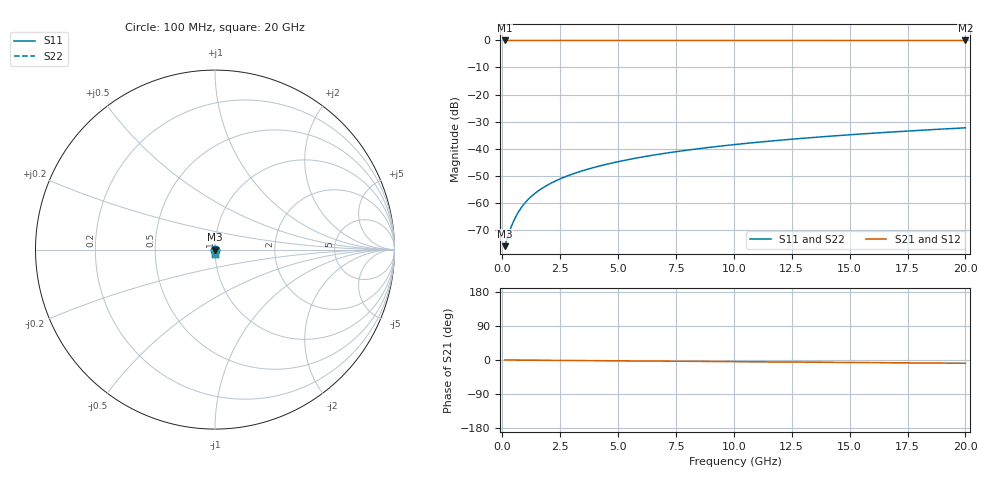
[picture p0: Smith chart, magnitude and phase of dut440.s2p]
! Touchstone file exported from HFSS 2026.1.0
!  File:  C:/ffzhzh/LocalFiles/Ansys_Project_Files/temp_train_TSV_440_1783021461_55676.aedt
!  Generated:  03:45:58 AM Jul  3, 2026
!  Design:  TSV
!  Project:  temp_train_TSV_440_1783021461_55676
! Variables:
!  h_bsmrdl = 2um
!  h_ox = 20um
!  h_rdl = 5um
!  h_sub = 89.47um
!  h_tmrdl = 5um
!  h_tsv = 89.47um
!  h_via = 3um
!  l_bsmrdl = 300um
!  l_sub = 420.38um
!  l_tmrdl = 200um
!  m_sub = 200um
!  pitch = 35.27um
!  r_tsv = 10.19um
!  s_tmrdl = 10um
!  w_bsmrdl = 18um
!  w_sub = 500um
!  w_tmrdl = 12um
!  x_tsv_center1 = 206um
!  x_tsv_center2 = 524um
!  x_tsv_center3 = 736um
!  x_tsv_center4 = 1054um
!  x_tsv_center5 = 1266um
!  x_tsv_center6 = 1584um
# GHz S MA R 50.000000
! Terminal data exported
! Port[1] = TSV1_1_T1
! Port[2] = TSV1_1_T2
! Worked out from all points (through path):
!   200 points, 100 MHz to 20 GHz, reference 50 ohm
!   highest |S21| = 0.00 dB at 100 MHz (marker M1); lowest = 0.0 dB at 20 GHz (marker M2)
!   group delay of S21, straight-line fit = 1.2 ps
!   lowest |S11| = -76.1 dB at 100 MHz (marker M3), VSWR 1.00, Z = 50 - j0.00699 ohm
!   |S11| at or under -10 dB: start of sweep to end of sweep
!   |S22| runs from -76.1 to -32.3 dB; largest |S21 - S12| = 4e-15
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0.1  0.0001563 -26.5  0.9999 -0.0  0.9999 -0.0  0.0001563 -26.5
! Gamma 0 0 0 0
! Port Impedance 50 0 50 0
0.3  0.0002846 -51.6  0.9998 -0.1  0.9998 -0.1  0.0002846 -51.6
0.4  0.0003708 -56.8  0.9998 -0.2  0.9998 -0.2  0.0003708 -56.8
0.5  0.0004661 -60.3  0.9998 -0.2  0.9998 -0.2  0.0004661 -60.3
0.6  0.0005681 -63.0  0.9997 -0.3  0.9997 -0.3  0.0005681 -63.0
0.7  0.0006747 -65.1  0.9997 -0.3  0.9997 -0.3  0.0006747 -65.1
0.9  0.0008969 -68.6  0.9997 -0.4  0.9997 -0.4  0.0008969 -68.6
1.2  0.001241 -72.3  0.9996 -0.5  0.9996 -0.5  0.001241 -72.3
1.4  0.001472 -74.2  0.9996 -0.6  0.9996 -0.6  0.001472 -74.2
1.6  0.001705 -75.7  0.9996 -0.7  0.9996 -0.7  0.001705 -75.7
2.1  0.002286 -78.5  0.9995 -0.9  0.9995 -0.9  0.002286 -78.5
2.7  0.002987 -80.6  0.9994 -1.2  0.9994 -1.2  0.002987 -80.6
3.5  0.003928 -82.5  0.9994 -1.5  0.9994 -1.5  0.003928 -82.5
4.2  0.004759 -83.7  0.9993 -1.8  0.9993 -1.8  0.004759 -83.7
5  0.005717 -84.8  0.9992 -2.2  0.9992 -2.2  0.005717 -84.8
5.9  0.006805 -85.8  0.9992 -2.6  0.9992 -2.6  0.006805 -85.8
6.8  0.007899 -86.7  0.9991 -3.0  0.9991 -3.0  0.007899 -86.7
8.3  0.009734 -87.9  0.999 -3.6  0.999 -3.6  0.009734 -87.9
10.1  0.01195 -89.3  0.9989 -4.4  0.9989 -4.4  0.01195 -89.3
13.4  0.01601 -91.5  0.9987 -5.8  0.9987 -5.8  0.01601 -91.5
16.7  0.02009 -93.4  0.9984 -7.2  0.9984 -7.2  0.02009 -93.4
20  0.02419 -95.1  0.9982 -8.6  0.9982 -8.6  0.02419 -95.1
